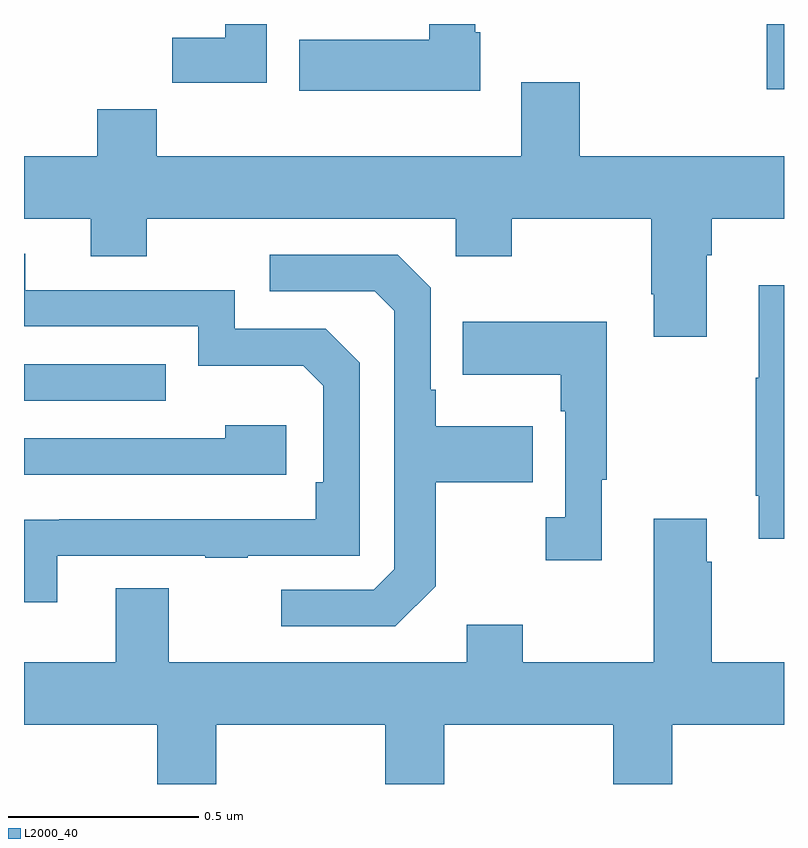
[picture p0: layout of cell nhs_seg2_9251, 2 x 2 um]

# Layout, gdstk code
import gdstk
lib = gdstk.Library(unit=1e-6, precision=1e-09)
def R(c, l, rs):  # rectangles x0, y0, x1, y1
    for r in rs: c.add(gdstk.rectangle(r[:2], r[2:], *l))
def P(c, l, *ps):  # polygons
    for p in ps: c.add(gdstk.Polygon(p, *l))
L2000_40 = (2000, 40)

nhs_seg2_9251 = lib.new_cell('nhs_seg2_9251')
R(nhs_seg2_9251, L2000_40, [(226,661.809,226.373,661.905), (227.954,662.628,228,662.8)])
P(nhs_seg2_9251, L2000_40, [(227.2,662.778),(227.188,662.778),(227.188,662.8),(227.066,662.8),(227.066,662.758),(226.724,662.758),(226.724,662.624),(227.2,662.624)],
  [(226.639,662.8),(226.529,662.8),(226.529,662.764),(226.39,662.764),(226.39,662.646),(226.639,662.646)],
  [(227.797,662.192),(227.81,662.192),(227.81,662.288),(228,662.288),(228,662.452),(227.462,662.452),(227.462,662.647),(227.309,662.647),(227.309,662.452),(226.349,662.452),(226.349,662.576),(226.193,662.576),(226.193,662.452),(226,662.452),(226,662.288),(226.175,662.288),(226.175,662.189),(226.323,662.189),(226.323,662.288),(227.136,662.288),(227.136,662.189),(227.283,662.189),(227.283,662.288),(227.65,662.288),(227.65,662.089),(227.657,662.089),(227.657,661.977),(227.797,661.977)],
  [(226.087,661.401),(226.477,661.401),(226.477,661.396),(226.589,661.396),(226.589,661.401),(226.884,661.401),(226.884,661.908),(226.794,661.998),(226.554,661.998),(226.554,662.1),(226.003,662.1),(226.003,662.196),(226,662.196),(226,662.004),(226.458,662.004),(226.458,661.901),(226.735,661.901),(226.788,661.848),(226.788,661.594),(226.768,661.594),(226.768,661.497),(226.093,661.497),(226.093,661.496),(226,661.496),(226,661.278),(226.087,661.278)],
  [(227.083,661.321),(227.083,661.594),(227.339,661.594),(227.339,661.741),(227.083,661.741),(227.083,661.837),(227.07,661.837),(227.07,662.106),(226.983,662.193),(226.647,662.193),(226.647,662.097),(226.923,662.097),(226.974,662.046),(226.974,661.365),(226.92,661.311),(226.677,661.311),(226.677,661.215),(226.977,661.215)],
  [(228,662.113),(227.933,662.113),(227.933,661.869),(227.926,661.869),(227.926,661.558),(227.933,661.558),(227.933,661.446),(228,661.446)],
  [(227.521,661.601),(227.533,661.601),(227.533,662.017),(227.155,662.017),(227.155,661.877),(227.412,661.877),(227.412,661.781),(227.424,661.781),(227.424,661.502),(227.373,661.502),(227.373,661.389),(227.521,661.389)],
  [(226.69,661.744),(226.529,661.744),(226.529,661.71),(226,661.71),(226,661.614),(226.69,661.614)],
  [(226.506,660.956),(226.951,660.956),(226.951,660.8),(227.106,660.8),(227.106,660.956),(227.551,660.956),(227.551,660.8),(227.706,660.8),(227.706,660.956),(228,660.956),(228,661.12),(227.81,661.12),(227.81,661.385),(227.797,661.385),(227.797,661.498),(227.657,661.498),(227.657,661.12),(227.313,661.12),(227.313,661.219),(227.165,661.219),(227.165,661.12),(226.381,661.12),(226.381,661.315),(226.241,661.315),(226.241,661.12),(226,661.12),(226,660.956),(226.351,660.956),(226.351,660.8),(226.506,660.8)])

lib.write_gds('nhs_seg2_9251.gds')
